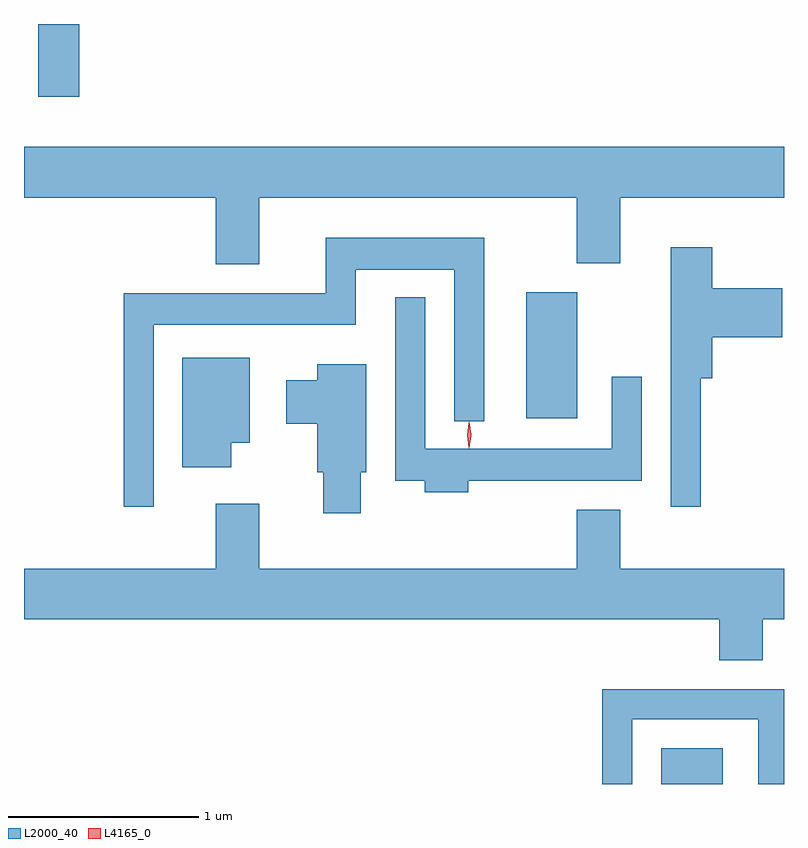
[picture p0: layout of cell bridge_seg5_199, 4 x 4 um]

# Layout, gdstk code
import gdstk
lib = gdstk.Library(unit=1e-6, precision=1e-09)
def R(c, l, rs):  # rectangles x0, y0, x1, y1
    for r in rs: c.add(gdstk.rectangle(r[:2], r[2:], *l))
def P(c, l, *ps):  # polygons
    for p in ps: c.add(gdstk.Polygon(p, *l))
L2000_40 = (2000, 40)
L4165_0 = (4165, 0)

bridge_seg5_199 = lib.new_cell('bridge_seg5_199')
R(bridge_seg5_199, L2000_40, [(1286.376,1418.19,1286.699,1418.379), (1285.666,1420.116,1285.934,1420.779), (1283.096,1421.806,1283.314,1422.19)])
P(bridge_seg5_199, L2000_40, [(1284.259,1421.276),(1285.931,1421.276),(1285.931,1420.931),(1286.159,1420.931),(1286.159,1421.276),(1287.022,1421.276),(1287.022,1421.544),(1283.022,1421.544),(1283.022,1421.276),(1284.031,1421.276),(1284.031,1420.926),(1284.259,1420.926)],
  [(1283.704,1420.606),(1284.769,1420.606),(1284.769,1420.896),(1285.286,1420.896),(1285.286,1420.098),(1285.444,1420.098),(1285.444,1421.064),(1284.611,1421.064),(1284.611,1420.774),(1283.546,1420.774),(1283.546,1419.648),(1283.704,1419.648)],
  [(1286.584,1420.326),(1286.644,1420.326),(1286.644,1420.541),(1287.014,1420.541),(1287.014,1420.799),(1286.644,1420.799),(1286.644,1421.014),(1286.426,1421.014),(1286.426,1419.648),(1286.584,1419.648)],
  [(1285.359,1419.786),(1286.274,1419.786),(1286.274,1420.333),(1286.116,1420.333),(1286.116,1419.954),(1285.134,1419.954),(1285.134,1420.753),(1284.976,1420.753),(1284.976,1419.786),(1285.131,1419.786),(1285.131,1419.726),(1285.359,1419.726)],
  [(1284.114,1419.986),(1284.209,1419.986),(1284.209,1420.434),(1283.856,1420.434),(1283.856,1419.856),(1284.114,1419.856)],
  [(1284.794,1419.831),(1284.824,1419.831),(1284.824,1420.399),(1284.566,1420.399),(1284.566,1420.314),(1284.401,1420.314),(1284.401,1420.086),(1284.566,1420.086),(1284.566,1419.831),(1284.596,1419.831),(1284.596,1419.616),(1284.794,1419.616)],
  [(1286.909,1419.056),(1287.022,1419.056),(1287.022,1419.324),(1286.159,1419.324),(1286.159,1419.634),(1285.931,1419.634),(1285.931,1419.324),(1284.259,1419.324),(1284.259,1419.664),(1284.031,1419.664),(1284.031,1419.324),(1283.022,1419.324),(1283.022,1419.056),(1286.681,1419.056),(1286.681,1418.841),(1286.909,1418.841)],
  [(1286.224,1418.531),(1286.886,1418.531),(1286.886,1418.19),(1287.022,1418.19),(1287.022,1418.689),(1286.066,1418.689),(1286.066,1418.19),(1286.224,1418.19)])
P(bridge_seg5_199, L4165_0, [(1285.365,1419.959),(1285.364,1419.96),(1285.355,1420.026),(1285.364,1420.092),(1285.365,1420.093),(1285.366,1420.092),(1285.375,1420.026),(1285.366,1419.96)],
  [(1285.365,1419.957),(1285.365,1419.957),(1285.355,1420.027),(1285.365,1420.096),(1285.365,1420.096),(1285.366,1420.096),(1285.375,1420.027),(1285.366,1419.957)])

lib.write_gds('bridge_seg5_199.gds')
